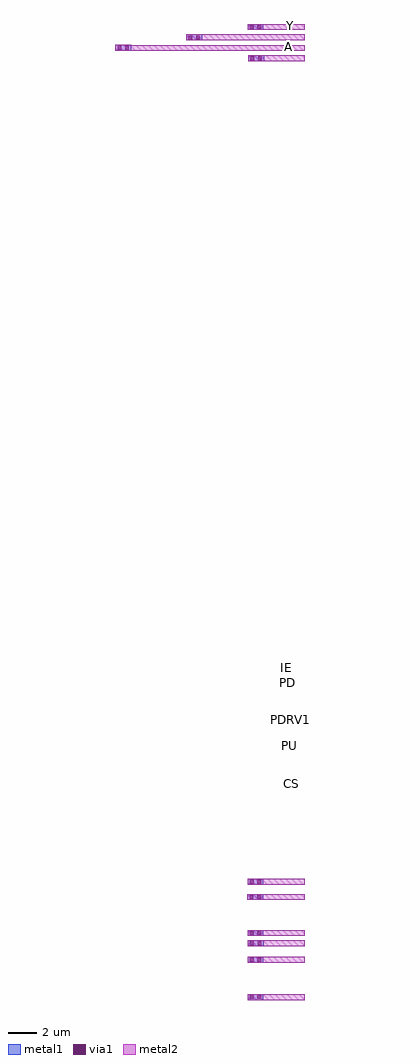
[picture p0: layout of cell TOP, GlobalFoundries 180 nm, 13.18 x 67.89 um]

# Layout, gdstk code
import gdstk
lib = gdstk.Library(unit=1e-6, precision=1e-09)
def R(c, l, rs):  # rectangles x0, y0, x1, y1
    for r in rs: c.add(gdstk.rectangle(r[:2], r[2:], *l))
metal1 = (34, 0)
via1 = (35, 0)
metal2 = (36, 0)

via_dev = lib.new_cell('via_dev')

via_dev_1 = lib.new_cell('via_dev$1')

via_dev_2 = lib.new_cell('via_dev$2')

via_dev_3 = lib.new_cell('via_dev$3')

via_dev_4 = lib.new_cell('via_dev$4')

via_dev_5 = lib.new_cell('via_dev$5')

via_dev_6 = lib.new_cell('via_dev$6')

via_dev_7 = lib.new_cell('via_dev$7')

via_dev_8 = lib.new_cell('via_dev$8')

via_dev_9 = lib.new_cell('via_dev$9')

via_dev_10 = lib.new_cell('via_dev$10')

via_dev_11 = lib.new_cell('via_dev$11')

top = lib.new_cell('TOP')
R(top, metal1, [(2601.53,1888.865,2602.63,1889.265), (2601.53,1888.865,2602.63,1889.265), (2601.53,1891.465,2602.63,1891.865), (2601.535,1892.605,2602.635,1893.005), (2601.525,1893.325,2602.625,1893.725), (2601.52,1895.825,2602.62,1896.225), (2601.525,1896.885,2602.625,1897.285), (2601.57,1954.17,2602.67,1954.57), (2592.325,1954.91,2593.425,1955.31), (2597.26,1955.63,2598.36,1956.03), (2601.53,1956.36,2602.63,1956.76)])
R(top, via1, [(2601.685,1888.935,2601.945,1889.195), (2601.685,1888.935,2601.945,1889.195), (2602.215,1888.935,2602.475,1889.195), (2602.215,1888.935,2602.475,1889.195), (2601.685,1891.535,2601.945,1891.795), (2602.215,1891.535,2602.475,1891.795), (2601.69,1892.675,2601.95,1892.935), (2602.22,1892.675,2602.48,1892.935), (2601.68,1893.395,2601.94,1893.655), (2602.21,1893.395,2602.47,1893.655), (2601.675,1895.895,2601.935,1896.155), (2602.205,1895.895,2602.465,1896.155), (2601.68,1896.955,2601.94,1897.215), (2602.21,1896.955,2602.47,1897.215), (2601.725,1954.24,2601.985,1954.5), (2602.255,1954.24,2602.515,1954.5), (2592.48,1954.98,2592.74,1955.24), (2593.01,1954.98,2593.27,1955.24), (2597.415,1955.7,2597.675,1955.96), (2597.945,1955.7,2598.205,1955.96), (2601.685,1956.43,2601.945,1956.69), (2602.215,1956.43,2602.475,1956.69)])
R(top, metal2, [(2601.53,1888.865,2602.63,1889.265), (2601.53,1888.865,2602.63,1889.265), (2601.53,1891.465,2602.63,1891.865), (2601.535,1892.605,2602.635,1893.005), (2601.525,1893.325,2602.625,1893.725), (2601.52,1895.825,2602.62,1896.225), (2601.525,1896.885,2602.625,1897.285), (2601.57,1954.17,2602.67,1954.57), (2592.325,1954.91,2593.425,1955.31), (2597.26,1955.63,2598.36,1956.03), (2601.53,1956.36,2602.63,1956.76)])
top.add(gdstk.FlexPath([(2605.5,1897.09),(2601.53,1897.09)], 0.4, ends="flush", simple_path=True, layer=36, datatype=0))  # metal2
top.add(gdstk.FlexPath([(2605.5,1896.035),(2601.51,1896.035)], 0.4, ends="flush", simple_path=True, layer=36, datatype=0))  # metal2
top.add(gdstk.FlexPath([(2605.5,1893.525),(2601.53,1893.525)], 0.4, ends="flush", simple_path=True, layer=36, datatype=0))  # metal2
top.add(gdstk.FlexPath([(2605.5,1892.815),(2601.53,1892.815)], 0.4, ends="flush", simple_path=True, layer=36, datatype=0))  # metal2
top.add(gdstk.FlexPath([(2605.5,1891.67),(2601.53,1891.67)], 0.4, ends="flush", simple_path=True, layer=36, datatype=0))  # metal2
top.add(gdstk.FlexPath([(2605.5,1889.065),(2601.53,1889.065)], 0.4, ends="flush", simple_path=True, layer=36, datatype=0))  # metal2
top.add(gdstk.FlexPath([(2605.5,1954.37),(2601.575,1954.37)], 0.4, ends="flush", simple_path=True, layer=36, datatype=0))  # metal2
top.add(gdstk.FlexPath([(2605.49,1955.1),(2592.325,1955.1)], 0.38, ends="flush", simple_path=True, layer=36, datatype=0))  # metal2
top.add(gdstk.FlexPath([(2605.5,1955.83),(2597.255,1955.83)], 0.4, ends="flush", simple_path=True, layer=36, datatype=0))  # metal2
top.add(gdstk.FlexPath([(2605.5,1956.56),(2601.53,1956.56)], 0.4, ends="flush", simple_path=True, layer=36, datatype=0))  # metal2
top.add(gdstk.Reference(via_dev, (2601.485,1896.89)))
top.add(gdstk.Reference(via_dev, (2601.485,1895.835)))
top.add(gdstk.Reference(via_dev, (2601.49,1888.865)))
top.add(gdstk.Reference(via_dev, (2601.48,1893.325)))
top.add(gdstk.Reference(via_dev, (2601.485,1891.47)))
top.add(gdstk.Reference(via_dev_1, (2601.48,1895.825)))
top.add(gdstk.Reference(via_dev_2, (2601.485,1888.875)))
top.add(gdstk.Reference(via_dev_3, (2601.485,1893.325)))
top.add(gdstk.Reference(via_dev_4, (2601.48,1893.335)))
top.add(gdstk.Reference(via_dev_5, (2601.49,1891.465)))
top.add(gdstk.Reference(via_dev_6, (2601.485,1891.475)))
top.add(gdstk.Reference(via_dev_7, (2601.49,1888.865)))
top.add(gdstk.Reference(via_dev_8, (2601.485,1888.875)))
top.add(gdstk.Reference(via_dev_9, (2601.49,1892.605)))
top.add(gdstk.Reference(via_dev_10, (2601.495,1892.605)))
top.add(gdstk.Reference(via_dev_11, (2601.49,1892.615)))
top.add(gdstk.Label('Y', (2604.52,1956.66), layer=36, texttype=10))
top.add(gdstk.Label('OE', (2604.36,1955.96), layer=36, texttype=10))
top.add(gdstk.Label('A', (2604.4,1955.19), layer=36, texttype=10))
top.add(gdstk.Label('SL', (2604.46,1954.46), layer=36, texttype=10))
top.add(gdstk.Label('IE', (2604.24,1911.98), layer=36, texttype=10))
top.add(gdstk.Label('PD', (2604.28,1910.92), layer=36, texttype=10))
top.add(gdstk.Label('PDRV1', (2604.49,1908.38), layer=36, texttype=10))
top.add(gdstk.Label('PDRV0', (2604.52,1907.6), layer=36, texttype=10))
top.add(gdstk.Label('PU', (2604.43,1906.56), layer=36, texttype=10))
top.add(gdstk.Label('CS', (2604.61,1903.91), layer=36, texttype=10))

lib.write_gds('TOP.gds')
